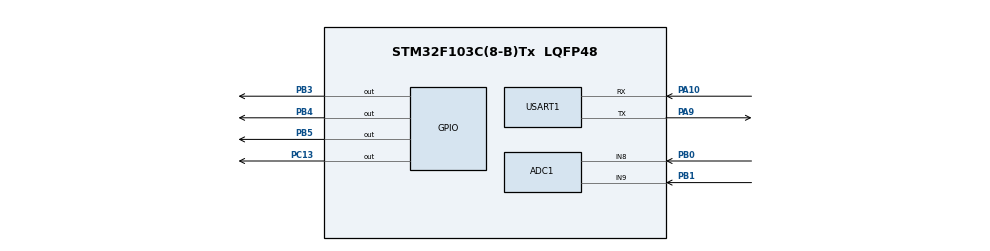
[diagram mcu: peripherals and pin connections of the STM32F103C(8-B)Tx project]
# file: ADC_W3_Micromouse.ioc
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ADC1.Channel-0\#ChannelRegularConversion=ADC_CHANNEL_8
ADC1.ContinuousConvMode=ENABLE
ADC1.NbrOfConversionFlag=1
ADC1.Rank-0\#ChannelRegularConversion=1
ADC1.SamplingTime-0\#ChannelRegularConversion=ADC_SAMPLETIME_1CYCLE_5
ADC1.master=1
Mcu.Family=STM32F1
Mcu.Name=STM32F103C(8-B)Tx
Mcu.Package=LQFP48
NVIC.PriorityGroup=NVIC_PRIORITYGROUP_4
PA10.Mode=Asynchronous
PA10.Signal=USART1_RX
PA13.Mode=Serial_Wire
PA13.Signal=SYS_JTMS-SWDIO
PA14.Mode=Serial_Wire
PA14.Signal=SYS_JTCK-SWCLK
PA9.Mode=Asynchronous
PA9.Signal=USART1_TX
PB0.Signal=ADCx_IN8
PB1.Signal=ADCx_IN9
PB3.Signal=GPIO_Output
PB4.Signal=GPIO_Output
PB5.Signal=GPIO_Output
PC13-TAMPER-RTC.Signal=GPIO_Output
PD0-OSC_IN.Mode=HSE-External-Oscillator
PD0-OSC_IN.Signal=RCC_OSC_IN
PD1-OSC_OUT.Mode=HSE-External-Oscillator
PD1-OSC_OUT.Signal=RCC_OSC_OUT
ProjectManager.HeapSize=0x200
ProjectManager.StackSize=0x400
ProjectManager.TargetToolchain=CMake
RCC.APB1Freq_Value=8000000
RCC.APB2Freq_Value=8000000
RCC.PLLSourceVirtual=RCC_PLLSOURCE_HSE
RCC.SYSCLKSource=RCC_SYSCLKSOURCE_HSE
RCC.USBFreq_Value=16000000
SH.ADCx_IN8.0=ADC1_IN8,IN8
SH.ADCx_IN9.0=ADC1_IN9,IN9
USART1.VirtualMode=VM_ASYNC
board=custom

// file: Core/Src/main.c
/* USER CODE BEGIN Header */
/**
  ******************************************************************************
  * @file           : main.c
  * @brief          : Main program body
  ******************************************************************************
  * @attention
  *
  * Copyright (c) 2025 STMicroelectronics.
  * All rights reserved.
  *
  * This software is licensed under terms that can be found in the LICENSE file
  * in the root directory of this software component.
  * If no LICENSE file comes with this software, it is provided AS-IS.
  *
  ******************************************************************************
  */
/* USER CODE END Header */
#include "main.h"

/* USER CODE BEGIN Includes */
#include <stdio.h>
#include <string.h>
/* USER CODE END Includes */

ADC_HandleTypeDef hadc1;

UART_HandleTypeDef huart1;

/* USER CODE BEGIN PV */
volatile uint32_t ADC_Value = 0;
/* USER CODE END PV */

void SystemClock_Config(void);
static void MX_GPIO_Init(void);
static void MX_ADC1_Init(void);
static void MX_USART1_UART_Init(void);

/* USER CODE BEGIN 0 */
void ADC_Select_Channel(uint32_t channel){
  ADC_ChannelConfTypeDef sConfig = {0};
  sConfig.Channel = channel;
  sConfig.Rank = ADC_REGULAR_RANK_1;
  sConfig.SamplingTime = ADC_SAMPLETIME_1CYCLE_5;
  HAL_ADC_ConfigChannel(&hadc1, &sConfig);

  if (HAL_ADC_Start(&hadc1) != HAL_OK)
  {
    // Start Error
    Error_Handler();
  }
}
/* USER CODE END 0 */

int main(void)
{

  /* MCU Configuration--------------------------------------------------------*/

  /* Reset of all peripherals, Initializes the Flash interface and the Systick. */
  HAL_Init();

  /* Configure the system clock */
  SystemClock_Config();

  /* Initialize all configured peripherals */
  MX_GPIO_Init();
  MX_ADC1_Init();
  MX_USART1_UART_Init();
  /* USER CODE BEGIN 2 */
  HAL_ADC_Start(&hadc1);
  char header[] = "Timestamp (ms),ADC Value\r\n";
  HAL_UART_Transmit(&huart1, (uint8_t*)header, strlen(header), 200);
  /* USER CODE END 2 */

  /* Infinite loop */
  /* USER CODE BEGIN WHILE */
  while (1)
  {
    //Sensor 1 (Channel 0)
    ADC_Select_Channel(ADC_CHANNEL_0); //select channel 0
    HAL_ADC_Start(&hadc1);
    HAL_ADC_PollForConversion(&hadc1, 100); //(100ms timeout)
    uint32_t left_val = HAL_ADC_GetValue(&hadc1); // Read the value
    printf("Left Sensor Value: %lu\r\n", left_val);

    // Sensor 2 (Channel 1)
    ADC_Select_Channel(ADC_CHANNEL_1);
    HAL_ADC_Start(&hadc1);
    HAL_ADC_PollForConversion(&hadc1, 100); // (100ms timeout)
    uint32_t right_val = HAL_ADC_GetValue(&hadc1); // Read the value
    printf("Right Sensor Value: %lu\r\n", right_val);

    HAL_Delay(10); // Small delay so you don't flood the CPU
    /* USER CODE END WHILE */
  }

/*
  // Read the latest ADC value
  ADC_Value = HAL_ADC_GetValue(&hadc1);

  if (ADC_Value > 1910) // Object is close
  {
    // Turn ON red LED (PB3)
    HAL_GPIO_WritePin(GPIOB, GPIO_PIN_3, GPIO_PIN_SET);   // Red ON
    HAL_GPIO_WritePin(GPIOB, GPIO_PIN_4, GPIO_PIN_RESET); // Yellow OFF
    HAL_GPIO_WritePin(GPIOB, GPIO_PIN_5, GPIO_PIN_RESET); // Green OFF
  }
  else if (ADC_Value > 930) // Object is mid range
  {
    // Turn ON Yellow LED (PB4)
    HAL_GPIO_WritePin(GPIOB, GPIO_PIN_3, GPIO_PIN_RESET); // Green OFF
    HAL_GPIO_WritePin(GPIOB, GPIO_PIN_4, GPIO_PIN_SET);   // Yellow ON
    HAL_GPIO_WritePin(GPIOB, GPIO_PIN_5, GPIO_PIN_RESET); // Red OFF
  }
  else if(ADC_Value >= 600)// Object is FAR
  {
    // Turn ON Green LED (PB5)
    HAL_GPIO_WritePin(GPIOB, GPIO_PIN_3, GPIO_PIN_RESET); // Red OFF
    HAL_GPIO_WritePin(GPIOB, GPIO_PIN_4, GPIO_PIN_RESET); // Yellow OFF
    HAL_GPIO_WritePin(GPIOB, GPIO_PIN_5, GPIO_PIN_SET);   // Green ON
  }
  else
  {
    // Turn OFF all LEDs
    HAL_GPIO_WritePin(GPIOB, GPIO_PIN_3, GPIO_PIN_RESET); // Green OFF
    HAL_GPIO_WritePin(GPIOB, GPIO_PIN_4, GPIO_PIN_RESET); // Yellow OFF
    HAL_GPIO_WritePin(GPIOB, GPIO_PIN_5, GPIO_PIN_RESET); // Red OFF
  }

  char msgBuffer[50];

  uint32_t tick = HAL_GetTick()-startTime;

  sprintf(msgBuffer, "%u,%u\r\n", tick, ADC_Value);

  HAL_UART_Transmit(&huart1, (uint8_t*)msgBuffer, strlen(msgBuffer), 100);

  HAL_Delay(100);
*/

}

void SystemClock_Config(void)
{
  RCC_OscInitTypeDef RCC_OscInitStruct = {0};
  RCC_ClkInitTypeDef RCC_ClkInitStruct = {0};
  RCC_PeriphCLKInitTypeDef PeriphClkInit = {0};

  /** Initializes the RCC Oscillators according to the specified parameters
  * in the RCC_OscInitTypeDef structure.
  */
  RCC_OscInitStruct.OscillatorType = RCC_OSCILLATORTYPE_HSE;
  RCC_OscInitStruct.HSEState = RCC_HSE_ON;
  RCC_OscInitStruct.PLL.PLLState = RCC_PLL_NONE;
  if (HAL_RCC_OscConfig(&RCC_OscInitStruct) != HAL_OK)
  {
    Error_Handler();
  }

  /** Initializes the CPU, AHB and APB buses clocks
  */
  RCC_ClkInitStruct.ClockType = RCC_CLOCKTYPE_HCLK|RCC_CLOCKTYPE_SYSCLK
                              |RCC_CLOCKTYPE_PCLK1|RCC_CLOCKTYPE_PCLK2;
  RCC_ClkInitStruct.SYSCLKSource = RCC_SYSCLKSOURCE_HSE;
  RCC_ClkInitStruct.AHBCLKDivider = RCC_SYSCLK_DIV1;
  RCC_ClkInitStruct.APB1CLKDivider = RCC_HCLK_DIV1;
  RCC_ClkInitStruct.APB2CLKDivider = RCC_HCLK_DIV1;

  if (HAL_RCC_ClockConfig(&RCC_ClkInitStruct, FLASH_LATENCY_0) != HAL_OK)
  {
    Error_Handler();
  }
  PeriphClkInit.PeriphClockSelection = RCC_PERIPHCLK_ADC;
  PeriphClkInit.AdcClockSelection = RCC_ADCPCLK2_DIV2;
  if (HAL_RCCEx_PeriphCLKConfig(&PeriphClkInit) != HAL_OK)
  {
    Error_Handler();
  }
}

static void MX_ADC1_Init(void)
{

  ADC_ChannelConfTypeDef sConfig = {0};

  /** Common config
  */
  hadc1.Instance = ADC1;
  hadc1.Init.ScanConvMode = ADC_SCAN_DISABLE;
  hadc1.Init.ContinuousConvMode = DISABLE;
  hadc1.Init.DiscontinuousConvMode = DISABLE;
  hadc1.Init.ExternalTrigConv = ADC_SOFTWARE_START;
  hadc1.Init.DataAlign = ADC_DATAALIGN_RIGHT;
  hadc1.Init.NbrOfConversion = 1;
  if (HAL_ADC_Init(&hadc1) != HAL_OK)
  {
    Error_Handler();
  }

  /** Configure Regular Channel
  */
  sConfig.Channel = ADC_CHANNEL_8;
  sConfig.Rank = ADC_REGULAR_RANK_1;
  sConfig.SamplingTime = ADC_SAMPLETIME_1CYCLE_5;
  if (HAL_ADC_ConfigChannel(&hadc1, &sConfig) != HAL_OK)
  {
    Error_Handler();
  }

}

static void MX_USART1_UART_Init(void)
{

  huart1.Instance = USART1;
  huart1.Init.BaudRate = 115200;
  huart1.Init.WordLength = UART_WORDLENGTH_8B;
  huart1.Init.StopBits = UART_STOPBITS_1;
  huart1.Init.Parity = UART_PARITY_NONE;
  huart1.Init.Mode = UART_MODE_TX_RX;
  huart1.Init.HwFlowCtl = UART_HWCONTROL_NONE;
  huart1.Init.OverSampling = UART_OVERSAMPLING_16;
  if (HAL_UART_Init(&huart1) != HAL_OK)
  {
    Error_Handler();
  }

}

static void MX_GPIO_Init(void)
{
  GPIO_InitTypeDef GPIO_InitStruct = {0};

  /* GPIO Ports Clock Enable */
  __HAL_RCC_GPIOC_CLK_ENABLE();
  __HAL_RCC_GPIOD_CLK_ENABLE();
  __HAL_RCC_GPIOB_CLK_ENABLE();
  __HAL_RCC_GPIOA_CLK_ENABLE();

  /*Configure GPIO pin Output Level */
  HAL_GPIO_WritePin(GPIOC, GPIO_PIN_13, GPIO_PIN_RESET);

  /*Configure GPIO pin Output Level */
  HAL_GPIO_WritePin(GPIOB, GPIO_PIN_3|GPIO_PIN_4|GPIO_PIN_5, GPIO_PIN_RESET);

  /*Configure GPIO pin : PC13 */
  GPIO_InitStruct.Pin = GPIO_PIN_13;
  GPIO_InitStruct.Mode = GPIO_MODE_OUTPUT_PP;
  GPIO_InitStruct.Pull = GPIO_NOPULL;
  GPIO_InitStruct.Speed = GPIO_SPEED_FREQ_LOW;
  HAL_GPIO_Init(GPIOC, &GPIO_InitStruct);

  /*Configure GPIO pins : PB3 PB4 PB5 */
  GPIO_InitStruct.Pin = GPIO_PIN_3|GPIO_PIN_4|GPIO_PIN_5;
  GPIO_InitStruct.Mode = GPIO_MODE_OUTPUT_PP;
  GPIO_InitStruct.Pull = GPIO_NOPULL;
  GPIO_InitStruct.Speed = GPIO_SPEED_FREQ_LOW;
  HAL_GPIO_Init(GPIOB, &GPIO_InitStruct);

}

void Error_Handler(void)
{
  __disable_irq();
  while (1)
  {
  }
}
